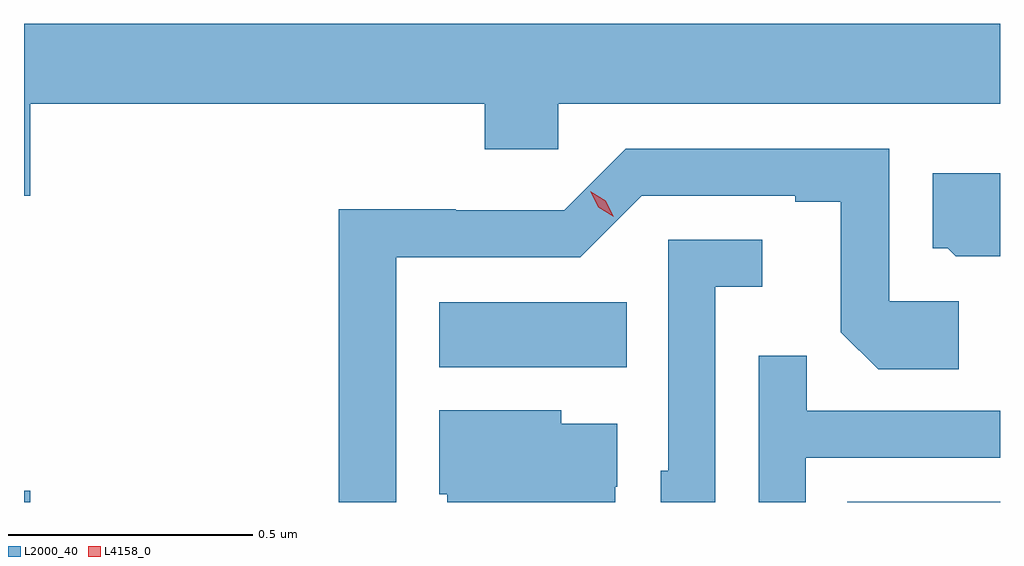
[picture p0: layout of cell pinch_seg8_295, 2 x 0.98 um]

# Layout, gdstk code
import gdstk
lib = gdstk.Library(unit=1e-6, precision=1e-09)
def R(c, l, rs):  # rectangles x0, y0, x1, y1
    for r in rs: c.add(gdstk.rectangle(r[:2], r[2:], *l))
def P(c, l, *ps):  # polygons
    for p in ps: c.add(gdstk.Polygon(p, *l))
L2000_40 = (2000, 40)
L4158_0 = (4158, 0)

pinch_seg8_295 = lib.new_cell('pinch_seg8_295')
R(pinch_seg8_295, L2000_40, [(524.799,1154.312,524.812,1154.335), (526.486,1154.312,526.799,1154.313), (525.65,1154.588,526.034,1154.722)])
P(pinch_seg8_295, L2000_40, [(524.812,1155.128),(525.743,1155.128),(525.743,1155.035),(525.894,1155.035),(525.894,1155.128),(526.799,1155.128),(526.799,1155.292),(524.799,1155.292),(524.799,1154.94),(524.812,1154.94)],
  [(525.562,1154.814),(525.939,1154.814),(526.065,1154.94),(526.379,1154.94),(526.379,1154.928),(526.473,1154.928),(526.473,1154.66),(526.549,1154.584),(526.714,1154.584),(526.714,1154.724),(526.572,1154.724),(526.572,1155.036),(526.032,1155.036),(525.906,1154.91),(525.684,1154.91),(525.684,1154.912),(525.444,1154.912),(525.444,1154.312),(525.562,1154.312)],
  [(526.799,1154.986),(526.661,1154.986),(526.661,1154.832),(526.692,1154.832),(526.708,1154.816),(526.799,1154.816)],
  [(526.215,1154.753),(526.312,1154.753),(526.312,1154.85),(526.119,1154.85),(526.119,1154.376),(526.104,1154.376),(526.104,1154.312),(526.215,1154.312)],
  [(526.401,1154.403),(526.799,1154.403),(526.799,1154.499),(526.403,1154.499),(526.403,1154.612),(526.305,1154.612),(526.305,1154.312),(526.401,1154.312)],
  [(526.011,1154.344),(526.015,1154.344),(526.015,1154.473),(525.9,1154.473),(525.9,1154.5),(525.65,1154.5),(525.65,1154.328),(525.666,1154.328),(525.666,1154.312),(526.011,1154.312)])
P(pinch_seg8_295, L4158_0, [(526.008,1154.897),(525.976,1154.916),(525.959,1154.949),(525.959,1154.949),(525.959,1154.949),(525.991,1154.93),(526.008,1154.897),(526.008,1154.897)])

lib.write_gds('pinch_seg8_295.gds')
